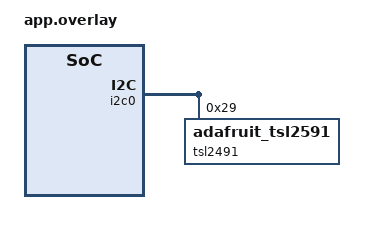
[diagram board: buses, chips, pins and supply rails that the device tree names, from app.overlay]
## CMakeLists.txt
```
#Specify minimum version
cmake_minimum_required(VERSION 3.20.5)

#set board
set(BOARD nrf5340dk/nrf5340/cpuapp)

#Locate Zephyr, automatically calls add excecutable(app ..)
find_package(Zephyr REQUIRED HINTS $ENV{ZEPHYR_BASE})


#Name the project
project(my_app)

#Create Static Library
#add_library(
#    tsl2591 #This is a target: output of the build process
 #   STATIC
#    src/tsl2591.c
#)

#Include directories for the library
#target_include_directories(
    #tsl2591
#    PUBLIC
#    ${CMAKE_CURRENT_SOURCE_DIR}/include
#)

#add_executable (${PROJECT_NAME} src/main.c)

#Link libraries to the executable, PRIVATE means library not exposed to all targets
#target_link_libraries(
#    ${PROJECT_NAME}
#    PRIVATE
#    tsl2591
#)

target_sources(app PRIVATE src/main.c)

zephyr_include_directories(include)
```

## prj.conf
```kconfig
CONFIG_GPIO=y
CONFIG_LOG=y
CONFIG_I2C=y
CONFIG_SENSOR_LOG_LEVEL
```

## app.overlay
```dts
/* Write the values that will be used for the drivers requested in the .yaml file */

/* Create an alias for the i2c bus*/

/ {
    aliases {
        /* The & tells the compiler not to create a new node look for the node elsewhere*/
        light-sensor = &tsl2491;
    };

};

&i2c0 {
    tsl2491: tsl2491@29{ //Unit address that is the device address. Should match the reg property in hex
        compatible = "adafruit_tsl2591"; //From the driver .yaml file
        reg = <0x29>;
    };
};
```

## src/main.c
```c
#include <zephyr/kernel.h>
#include <zephyr/device.h>
#include <zephyr/drivers/i2c.h>
```
